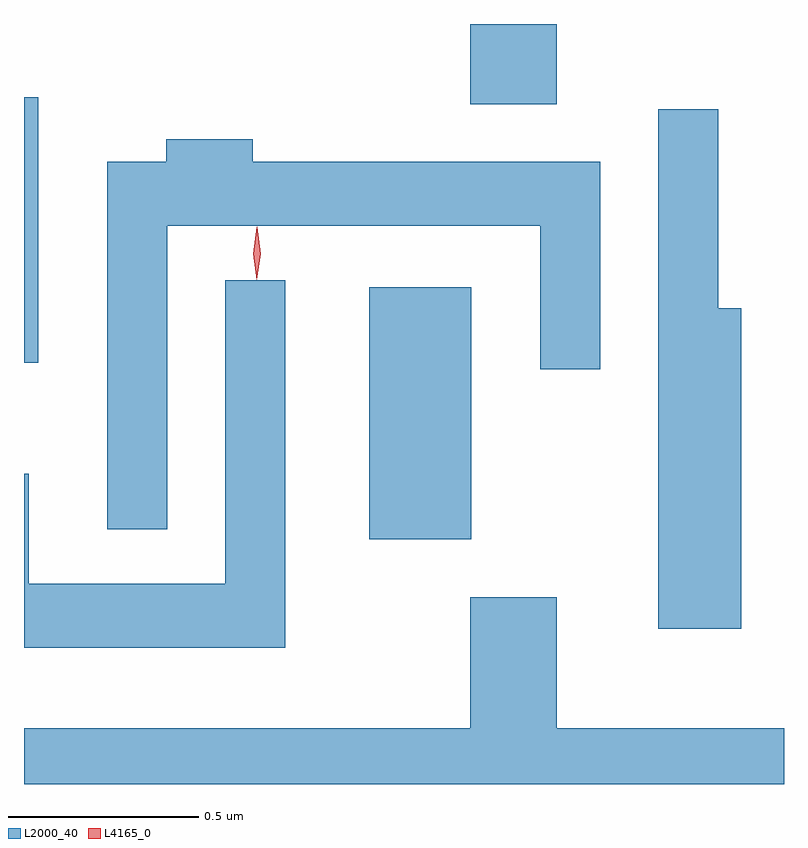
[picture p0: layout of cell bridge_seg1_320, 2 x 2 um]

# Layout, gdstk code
import gdstk
lib = gdstk.Library(unit=1e-6, precision=1e-09)
def R(c, l, rs):  # rectangles x0, y0, x1, y1
    for r in rs: c.add(gdstk.rectangle(r[:2], r[2:], *l))
def P(c, l, *ps):  # polygons
    for p in ps: c.add(gdstk.Polygon(p, *l))
L2000_40 = (2000, 40)
L4165_0 = (4165, 0)

bridge_seg1_320 = lib.new_cell('bridge_seg1_320')
R(bridge_seg1_320, L2000_40, [(878.296,884.801,878.564,885.464), (877.387,885.266,877.424,885.964), (878.561,885.946,878.789,886.157)])
P(bridge_seg1_320, L2000_40, [(879.274,885.409),(879.214,885.409),(879.214,885.933),(879.056,885.933),(879.056,884.566),(879.274,884.566)],
  [(877.764,885.626),(878.746,885.626),(878.746,885.248),(878.904,885.248),(878.904,885.794),(877.989,885.794),(877.989,885.854),(877.761,885.854),(877.761,885.794),(877.606,885.794),(877.606,884.828),(877.764,884.828)],
  [(878.074,885.483),(877.916,885.483),(877.916,884.684),(877.399,884.684),(877.399,884.974),(877.387,884.974),(877.387,884.516),(878.074,884.516)],
  [(879.387,884.304),(878.789,884.304),(878.789,884.649),(878.561,884.649),(878.561,884.304),(877.387,884.304),(877.387,884.157),(879.387,884.157)])
P(bridge_seg1_320, L4165_0, [(877.999,885.484),(877.99,885.553),(878,885.622),(878.001,885.623),(878.001,885.622),(878.01,885.553),(878,885.484),(878,885.484)])

lib.write_gds('bridge_seg1_320.gds')
